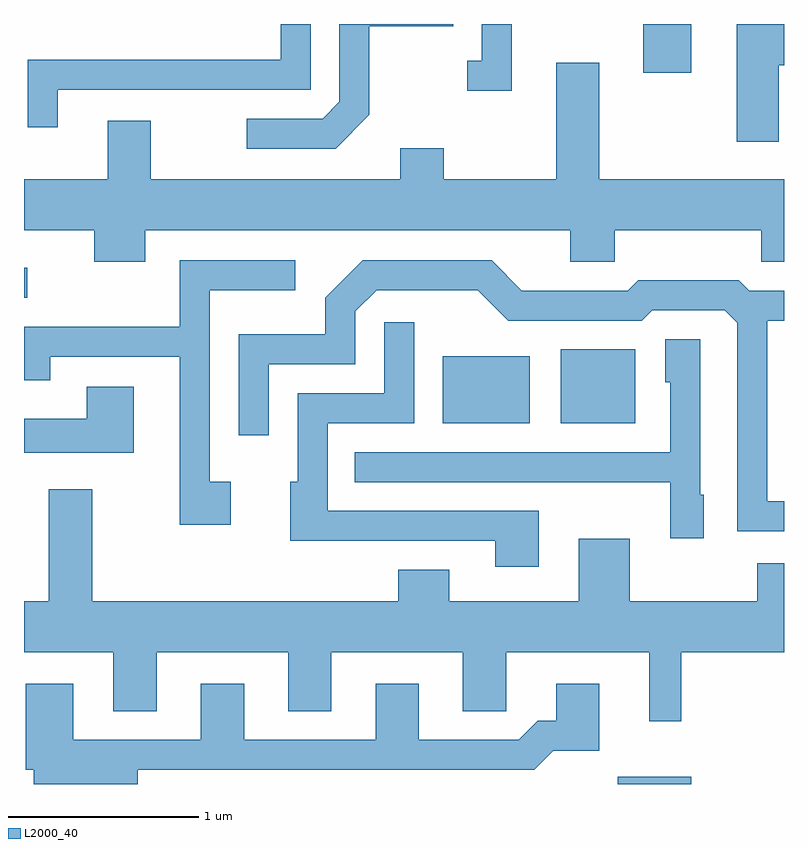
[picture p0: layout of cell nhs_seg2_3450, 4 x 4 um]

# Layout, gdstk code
import gdstk
lib = gdstk.Library(unit=1e-6, precision=1e-09)
def R(c, l, rs):  # rectangles x0, y0, x1, y1
    for r in rs: c.add(gdstk.rectangle(r[:2], r[2:], *l))
def P(c, l, *ps):  # polygons
    for p in ps: c.add(gdstk.Polygon(p, *l))
L2000_40 = (2000, 40)

nhs_seg2_3450 = lib.new_cell('nhs_seg2_3450')
R(nhs_seg2_3450, L2000_40, [(288.736,1089.802,289.124,1089.839), (287.816,1091.701,288.274,1092.054), (288.436,1091.701,288.829,1092.089), (285.611,1092.361,285.628,1092.519), (288.871,1093.546,289.124,1093.802)])
P(nhs_seg2_3450, L2000_40, [(285.789,1093.456),(287.119,1093.456),(287.119,1093.802),(286.961,1093.802),(286.961,1093.614),(285.631,1093.614),(285.631,1093.258),(285.789,1093.258)],
  [(288.179,1093.802),(288.021,1093.802),(288.021,1093.609),(287.943,1093.609),(287.943,1093.451),(288.179,1093.451)],
  [(287.429,1093.324),(287.429,1093.791),(287.869,1093.791),(287.869,1093.802),(287.271,1093.802),(287.271,1093.392),(287.184,1093.304),(286.783,1093.304),(286.783,1093.146),(287.252,1093.146)],
  [(289.584,1093.586),(289.611,1093.586),(289.611,1093.802),(289.361,1093.802),(289.361,1093.181),(289.584,1093.181)],
  [(288.411,1093.599),(288.411,1092.984),(287.819,1092.984),(287.819,1093.149),(287.591,1093.149),(287.591,1092.984),(286.279,1092.984),(286.279,1093.294),(286.051,1093.294),(286.051,1092.984),(285.611,1092.984),(285.611,1092.716),(285.981,1092.716),(285.981,1092.551),(286.249,1092.551),(286.249,1092.716),(288.486,1092.716),(288.486,1092.551),(288.719,1092.551),(288.719,1092.716),(289.491,1092.716),(289.491,1092.551),(289.611,1092.551),(289.611,1092.984),(288.639,1092.984),(288.639,1093.599)],
  [(289.611,1091.289),(289.524,1091.289),(289.524,1092.241),(289.611,1092.241),(289.611,1092.399),(289.427,1092.399),(289.372,1092.454),(288.844,1092.454),(288.789,1092.399),(288.232,1092.399),(288.072,1092.559),(287.394,1092.559),(287.196,1092.362),(287.196,1092.169),(286.741,1092.169),(286.741,1091.638),(286.899,1091.638),(286.899,1092.011),(287.354,1092.011),(287.354,1092.289),(287.467,1092.401),(287.999,1092.401),(288.159,1092.241),(288.862,1092.241),(288.917,1092.296),(289.299,1092.296),(289.366,1092.229),(289.366,1091.131),(289.611,1091.131)],
  [(286.699,1091.394),(286.589,1091.394),(286.589,1092.401),(287.038,1092.401),(287.038,1092.559),(286.431,1092.559),(286.431,1092.209),(285.611,1092.209),(285.611,1091.926),(285.749,1091.926),(285.749,1092.051),(286.431,1092.051),(286.431,1091.166),(286.699,1091.166)],
  [(288.319,1091.239),(287.209,1091.239),(287.209,1091.701),(287.664,1091.701),(287.664,1092.233),(287.506,1092.233),(287.506,1091.859),(287.051,1091.859),(287.051,1091.394),(287.011,1091.394),(287.011,1091.081),(288.091,1091.081),(288.091,1090.946),(288.319,1090.946)],
  [(289.189,1091.324),(289.169,1091.324),(289.169,1092.144),(288.986,1092.144),(288.986,1091.916),(289.011,1091.916),(289.011,1091.549),(287.353,1091.549),(287.353,1091.391),(289.011,1091.391),(289.011,1091.096),(289.189,1091.096)],
  [(286.189,1091.894),(285.941,1091.894),(285.941,1091.724),(285.611,1091.724),(285.611,1091.546),(286.189,1091.546)],
  [(289.069,1090.496),(289.611,1090.496),(289.611,1090.964),(289.471,1090.964),(289.471,1090.764),(288.799,1090.764),(288.799,1091.094),(288.531,1091.094),(288.531,1090.764),(287.849,1090.764),(287.849,1090.929),(287.581,1090.929),(287.581,1090.764),(285.969,1090.764),(285.969,1091.354),(285.741,1091.354),(285.741,1090.764),(285.611,1090.764),(285.611,1090.496),(286.081,1090.496),(286.081,1090.186),(286.309,1090.186),(286.309,1090.496),(287.001,1090.496),(287.001,1090.186),(287.229,1090.186),(287.229,1090.496),(287.921,1090.496),(287.921,1090.186),(288.149,1090.186),(288.149,1090.496),(288.901,1090.496),(288.901,1090.133),(289.069,1090.133)],
  [(286.209,1089.876),(288.297,1089.876),(288.397,1089.976),(288.639,1089.976),(288.639,1090.329),(288.411,1090.329),(288.411,1090.134),(288.314,1090.134),(288.214,1090.034),(287.689,1090.034),(287.689,1090.329),(287.461,1090.329),(287.461,1090.034),(286.769,1090.034),(286.769,1090.329),(286.541,1090.329),(286.541,1090.034),(285.869,1090.034),(285.869,1090.329),(285.621,1090.329),(285.621,1089.876),(285.661,1089.876),(285.661,1089.802),(286.209,1089.802)])

lib.write_gds('nhs_seg2_3450.gds')
